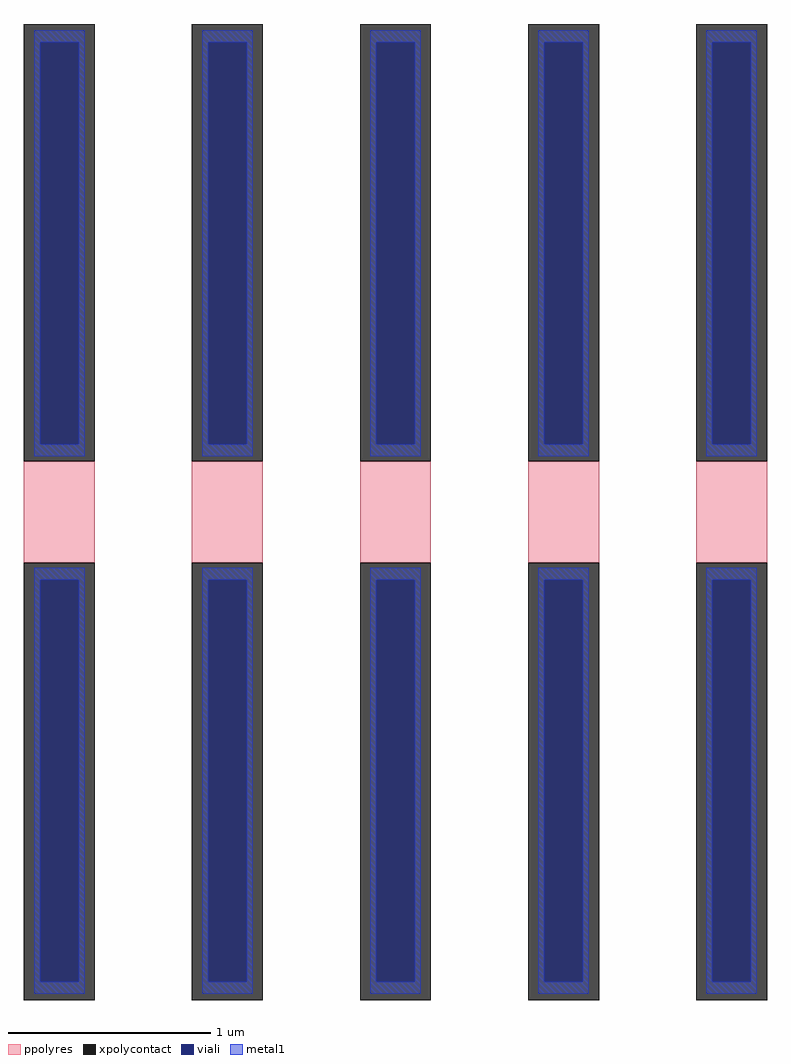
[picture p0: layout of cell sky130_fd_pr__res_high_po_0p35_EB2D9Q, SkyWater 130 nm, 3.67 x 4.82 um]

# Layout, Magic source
magic
tech sky130A
magscale 1 2
<< xpolycontact >>
rect -367 50 -297 482
rect -367 -482 -297 -50
rect -201 50 -131 482
rect -201 -482 -131 -50
rect -35 50 35 482
rect -35 -482 35 -50
rect 131 50 201 482
rect 131 -482 201 -50
rect 297 50 367 482
rect 297 -482 367 -50
<< ppolyres >>
rect -367 -50 -297 50
rect -201 -50 -131 50
rect -35 -50 35 50
rect 131 -50 201 50
rect 297 -50 367 50
<< viali >>
rect -351 67 -313 464
rect -185 67 -147 464
rect -19 67 19 464
rect 147 67 185 464
rect 313 67 351 464
rect -351 -464 -313 -67
rect -185 -464 -147 -67
rect -19 -464 19 -67
rect 147 -464 185 -67
rect 313 -464 351 -67
<< metal1 >>
rect -357 464 -307 476
rect -357 67 -351 464
rect -313 67 -307 464
rect -357 55 -307 67
rect -191 464 -141 476
rect -191 67 -185 464
rect -147 67 -141 464
rect -191 55 -141 67
rect -25 464 25 476
rect -25 67 -19 464
rect 19 67 25 464
rect -25 55 25 67
rect 141 464 191 476
rect 141 67 147 464
rect 185 67 191 464
rect 141 55 191 67
rect 307 464 357 476
rect 307 67 313 464
rect 351 67 357 464
rect 307 55 357 67
rect -357 -67 -307 -55
rect -357 -464 -351 -67
rect -313 -464 -307 -67
rect -357 -476 -307 -464
rect -191 -67 -141 -55
rect -191 -464 -185 -67
rect -147 -464 -141 -67
rect -191 -476 -141 -464
rect -25 -67 25 -55
rect -25 -464 -19 -67
rect 19 -464 25 -67
rect -25 -476 25 -464
rect 141 -67 191 -55
rect 141 -464 147 -67
rect 185 -464 191 -67
rect 141 -476 191 -464
rect 307 -67 357 -55
rect 307 -464 313 -67
rect 351 -464 357 -67
rect 307 -476 357 -464
<< properties >>
string gencell sky130_fd_pr__res_high_po_0p35
string library sky130
string parameters w 0.350 l 0.50 m 1 nx 5 wmin 0.350 lmin 0.50 rho 319.8 val 1.57k dummy 0 dw 0.0 term 194.82 sterm 0.0 caplen 0 guard 0 glc 1 grc 1 gtc 1 gbc 1 compatible {sky130_fd_pr__res_high_po_0p35  sky130_fd_pr__res_high_po_0p69 sky130_fd_pr__res_high_po_1p41  sky130_fd_pr__res_high_po_2p85 sky130_fd_pr__res_high_po_5p73} snake 0 full_metal 1 wmax 0.350 vias 1 n_guard 0 hv_guard 0 viagb 0 viagt 0 viagl 0 viagr 0
<< end >>
